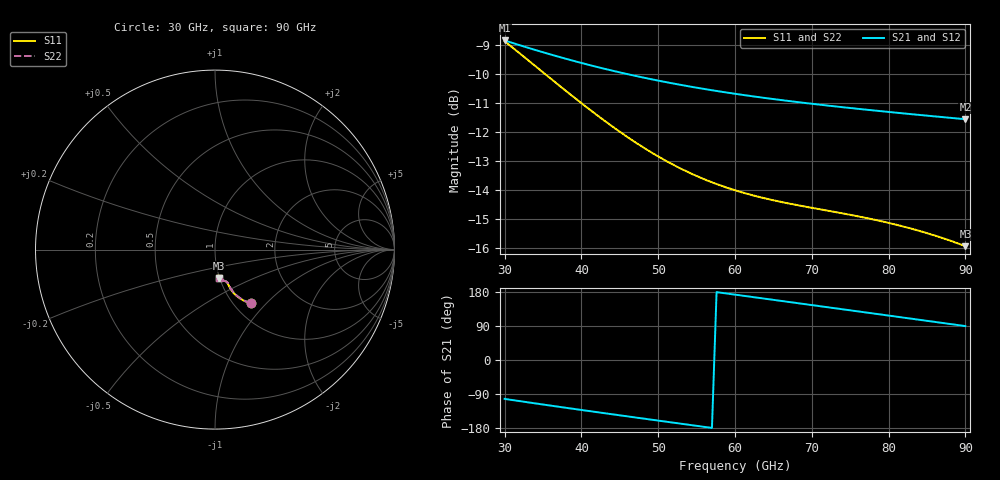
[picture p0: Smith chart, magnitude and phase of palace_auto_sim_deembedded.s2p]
! Created with skrf 1.11.0 (http://scikit-rf.org).
# GHz S DB R 50.0
!freq dBS11 angS11 dBS21 angS21 dBS12 angS12 dBS22 angS22
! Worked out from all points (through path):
!   101 points, 30 GHz to 90 GHz, reference 50 ohm
!   highest |S21| = -8.85 dB at 30 GHz (marker M1); lowest = -11.6 dB at 90 GHz (marker M2)
!   group delay of S21, straight-line fit = 7.72 ps
!   lowest |S11| = -15.9 dB at 90 GHz (marker M3), VSWR 1.38, Z = 49.5 - j16.1 ohm
!   |S11| at or under -10 dB: 35.24 GHz to end of sweep
!   |S22| runs from -15.9 to -8.9 dB; largest |S21 - S12| = 3.3e-13
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30  -8.88 -56.3  -8.85 -102.6  -8.85 -102.6  -8.89 -56.1
33  -9.52 -59.6  -9.10 -111.6  -9.10 -111.6  -9.54 -59.4
35.4  -10.04 -61.9  -9.29 -118.6  -9.29 -118.6  -10.06 -61.6
37.8  -10.55 -63.8  -9.47 -125.6  -9.47 -125.6  -10.57 -63.5
40.2  -11.05 -65.3  -9.64 -132.4  -9.64 -132.4  -11.07 -65.0
42.6  -11.54 -66.6  -9.80 -139.2  -9.80 -139.2  -11.56 -66.2
45  -12.00 -67.5  -9.95 -146.0  -9.95 -146.0  -12.02 -67.1
47.4  -12.43 -68.2  -10.09 -152.7  -10.09 -152.7  -12.44 -67.7
50.4  -12.91 -68.7  -10.25 -161.0  -10.25 -161.0  -12.92 -68.2
52.8  -13.25 -69.0  -10.37 -167.6  -10.37 -167.6  -13.25 -68.5
55.2  -13.54 -69.2  -10.49 -174.3  -10.49 -174.3  -13.54 -68.6
57.6  -13.80 -69.3  -10.59 179.1  -10.59 179.1  -13.79 -68.8
60  -14.01 -69.5  -10.69 172.5  -10.69 172.5  -14.00 -69.0
64.8  -14.35 -70.2  -10.86 159.3  -10.86 159.3  -14.32 -69.8
67.2  -14.48 -70.8  -10.94 152.7  -10.94 152.7  -14.44 -70.4
70.2  -14.63 -71.8  -11.04 144.4  -11.04 144.4  -14.59 -71.4
73.2  -14.77 -73.0  -11.13 136.1  -11.13 136.1  -14.73 -72.6
75.6  -14.89 -74.1  -11.19 129.4  -11.19 129.4  -14.84 -73.8
80.4  -15.16 -76.7  -11.32 116.1  -11.32 116.1  -15.11 -76.6
85.2  -15.51 -79.6  -11.45 102.8  -11.45 102.8  -15.46 -79.6
87.6  -15.71 -81.1  -11.51 96.1  -11.51 96.1  -15.66 -81.2
90  -15.94 -82.6  -11.56 89.5  -11.56 89.5  -15.89 -82.8
